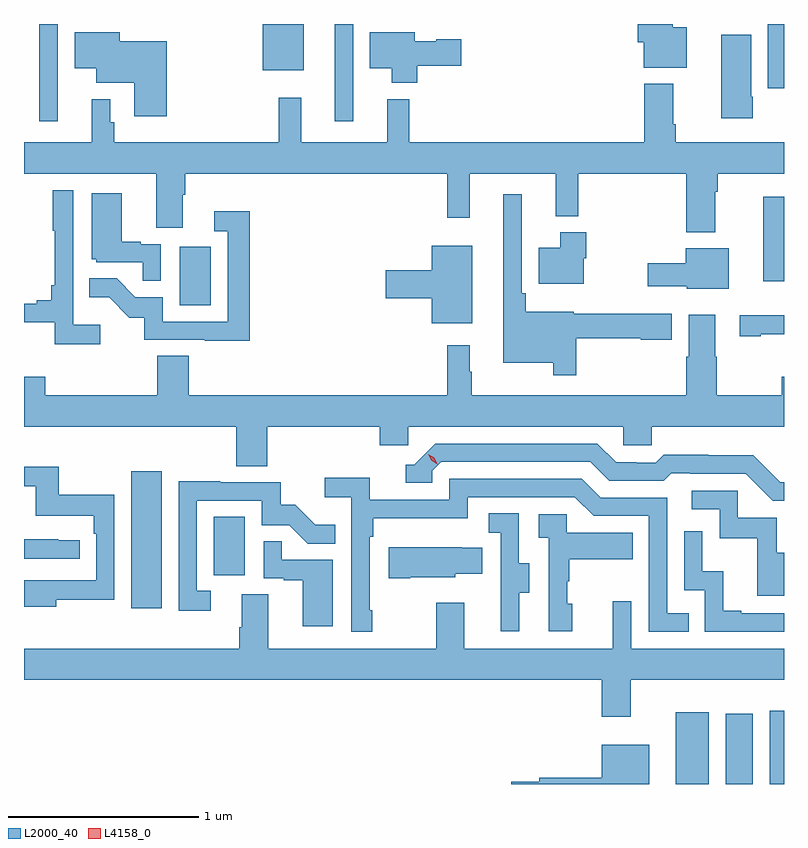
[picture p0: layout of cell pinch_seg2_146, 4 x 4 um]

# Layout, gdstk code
import gdstk
lib = gdstk.Library(unit=1e-6, precision=1e-09)
def R(c, l, rs):  # rectangles x0, y0, x1, y1
    for r in rs: c.add(gdstk.rectangle(r[:2], r[2:], *l))
def P(c, l, *ps):  # polygons
    for p in ps: c.add(gdstk.Polygon(p, *l))
L2000_40 = (2000, 40)
L4158_0 = (4158, 0)

pinch_seg2_146 = lib.new_cell('pinch_seg2_146')
R(pinch_seg2_146, L2000_40, [(1108.586,635.099,1108.762,635.476), (1108.85,635.099,1108.993,635.47), (1109.081,635.099,1109.157,635.485), (1105.721,636.024,1105.882,636.745), (1106.156,636.198,1106.32,636.505), (1105.976,637.62,1106.14,637.927), (1109.048,637.746,1109.157,638.191), (1105.238,638.586,1105.335,639.099), (1106.792,638.586,1106.889,639.099), (1109.072,638.76,1109.157,639.099), (1106.414,638.855,1106.629,639.099)])
P(pinch_seg2_146, L2000_40, [(1108.645,639.082),(1108.571,639.082),(1108.571,639.099),(1108.388,639.099),(1108.388,639.003),(1108.418,639.003),(1108.418,638.87),(1108.645,638.87)],
  [(1107.227,638.878),(1107.457,638.878),(1107.457,639.02),(1107.327,639.02),(1107.327,639.007),(1107.214,639.007),(1107.214,639.055),(1106.978,639.055),(1106.978,638.867),(1107.092,638.867),(1107.092,638.789),(1107.227,638.789)],
  [(1105.907,639.007),(1105.66,639.007),(1105.66,639.055),(1105.424,639.055),(1105.424,638.867),(1105.538,638.867),(1105.538,638.789),(1105.736,638.789),(1105.736,638.613),(1105.907,638.613)],
  [(1108.992,638.716),(1108.984,638.716),(1108.984,639.043),(1108.826,639.043),(1108.826,638.604),(1108.992,638.604)],
  [(1108.795,638.216),(1108.808,638.216),(1108.808,638.312),(1109.157,638.312),(1109.157,638.476),(1108.586,638.476),(1108.586,638.572),(1108.573,638.572),(1108.573,638.785),(1108.421,638.785),(1108.421,638.476),(1107.185,638.476),(1107.185,638.704),(1107.068,638.704),(1107.068,638.476),(1106.615,638.476),(1106.615,638.71),(1106.497,638.71),(1106.497,638.476),(1105.631,638.476),(1105.631,638.583),(1105.611,638.583),(1105.611,638.704),(1105.514,638.704),(1105.514,638.476),(1105.157,638.476),(1105.157,638.312),(1105.853,638.312),(1105.853,638.026),(1105.993,638.026),(1105.993,638.2),(1106.006,638.2),(1106.006,638.312),(1107.385,638.312),(1107.385,638.079),(1107.503,638.079),(1107.503,638.312),(1107.956,638.312),(1107.956,638.087),(1108.073,638.087),(1108.073,638.312),(1108.643,638.312),(1108.643,638.003),(1108.795,638.003)],
  [(1105.558,637.516),(1105.416,637.516),(1105.416,638.224),(1105.308,638.224),(1105.308,638.011),(1105.319,638.011),(1105.319,637.723),(1105.3,637.723),(1105.3,637.646),(1105.223,637.646),(1105.223,637.627),(1105.157,637.627),(1105.157,637.53),(1105.319,637.53),(1105.319,637.414),(1105.558,637.414)],
  [(1105.878,637.941),(1105.772,637.941),(1105.772,637.954),(1105.672,637.954),(1105.672,638.209),(1105.514,638.209),(1105.514,637.86),(1105.536,637.86),(1105.536,637.845),(1105.783,637.845),(1105.783,637.747),(1105.878,637.747)],
  [(1108.063,637.446),(1108.404,637.446),(1108.404,637.438),(1108.567,637.438),(1108.567,637.574),(1108.051,637.574),(1108.051,637.585),(1107.797,637.585),(1107.797,637.681),(1107.777,637.681),(1107.777,638.203),(1107.68,638.203),(1107.68,637.316),(1107.942,637.316),(1107.942,637.251),(1108.063,637.251)],
  [(1106.345,638.113),(1106.157,638.113),(1106.157,638.007),(1106.229,638.007),(1106.229,637.533),(1105.887,637.533),(1105.887,637.662),(1105.743,637.662),(1105.645,637.76),(1105.501,637.76),(1105.501,637.661),(1105.605,637.661),(1105.712,637.554),(1105.789,637.554),(1105.789,637.437),(1106.107,637.437),(1106.107,637.432),(1106.345,637.432)],
  [(1108.102,637.866),(1108.115,637.866),(1108.115,638.002),(1107.98,638.002),(1107.98,637.921),(1107.866,637.921),(1107.866,637.733),(1108.102,637.733)],
  [(1107.517,637.933),(1107.302,637.933),(1107.302,637.802),(1107.06,637.802),(1107.06,637.655),(1107.302,637.655),(1107.302,637.523),(1107.517,637.523)],
  [(1108.867,637.918),(1108.64,637.918),(1108.64,637.84),(1108.44,637.84),(1108.44,637.718),(1108.644,637.718),(1108.644,637.706),(1108.867,637.706)],
  [(1106.438,636.98),(1107.029,636.98),(1107.029,636.882),(1107.18,636.882),(1107.18,636.98),(1108.311,636.98),(1108.311,636.882),(1108.461,636.882),(1108.461,636.98),(1109.157,636.98),(1109.157,637.243),(1109.146,637.243),(1109.146,637.144),(1108.803,637.144),(1108.803,637.349),(1108.795,637.349),(1108.795,637.57),(1108.655,637.57),(1108.655,637.349),(1108.643,637.349),(1108.643,637.144),(1107.514,637.144),(1107.514,637.268),(1107.502,637.268),(1107.502,637.408),(1107.385,637.408),(1107.385,637.144),(1106.024,637.144),(1106.024,637.352),(1105.859,637.352),(1105.859,637.144),(1105.268,637.144),(1105.268,637.242),(1105.157,637.242),(1105.157,636.98),(1106.273,636.98),(1106.273,636.772),(1106.438,636.772)],
  [(1109.035,637.465),(1109.157,637.465),(1109.157,637.565),(1108.923,637.565),(1108.923,637.455),(1109.035,637.455)],
  [(1109.157,636.687),(1109.136,636.687),(1108.994,636.829),(1108.758,636.829),(1108.758,636.832),(1108.525,636.832),(1108.483,636.789),(1108.38,636.789),(1108.38,636.792),(1108.273,636.792),(1108.174,636.891),(1107.321,636.891),(1107.21,636.78),(1107.167,636.78),(1107.167,636.684),(1107.306,636.684),(1107.306,636.747),(1107.354,636.795),(1108.137,636.795),(1108.236,636.696),(1108.525,636.696),(1108.564,636.735),(1108.663,636.735),(1108.663,636.732),(1108.956,636.732),(1109.097,636.591),(1109.157,636.591)],
  [(1105.327,636.07),(1105.632,636.07),(1105.632,636.622),(1105.339,636.622),(1105.339,636.768),(1105.157,636.768),(1105.157,636.667),(1105.218,636.667),(1105.218,636.512),(1105.523,636.512),(1105.523,636.416),(1105.536,636.416),(1105.536,636.171),(1105.223,636.171),(1105.223,636.172),(1105.157,636.172),(1105.157,636.032),(1105.327,636.032)],
  [(1106.989,636.013),(1106.976,636.013),(1106.976,636.401),(1106.996,636.401),(1106.996,636.497),(1107.492,636.497),(1107.492,636.609),(1108.056,636.609),(1108.155,636.51),(1108.446,636.51),(1108.446,635.901),(1108.655,635.901),(1108.655,635.997),(1108.542,635.997),(1108.542,636.606),(1108.192,636.606),(1108.093,636.705),(1107.396,636.705),(1107.396,636.594),(1106.978,636.594),(1106.978,636.71),(1106.739,636.71),(1106.739,636.608),(1106.88,636.608),(1106.88,635.901),(1106.989,635.901)],
  [(1106.14,636.117),(1106.067,636.117),(1106.067,636.591),(1106.409,636.591),(1106.409,636.462),(1106.553,636.462),(1106.651,636.364),(1106.795,636.364),(1106.795,636.463),(1106.691,636.463),(1106.584,636.57),(1106.508,636.57),(1106.508,636.687),(1106.189,636.687),(1106.189,636.692),(1105.971,636.692),(1105.971,636.012),(1106.14,636.012)],
  [(1109.157,636.315),(1109.119,636.315),(1109.119,636.501),(1108.914,636.501),(1108.914,636.642),(1108.671,636.642),(1108.671,636.546),(1108.818,636.546),(1108.818,636.393),(1109.017,636.393),(1109.017,636.09),(1109.157,636.09)],
  [(1107.763,636.106),(1107.817,636.106),(1107.817,636.261),(1107.762,636.261),(1107.762,636.524),(1107.603,636.524),(1107.603,636.421),(1107.666,636.421),(1107.666,636.117),(1107.665,636.117),(1107.665,635.904),(1107.763,635.904)],
  [(1108.042,636.048),(1108.017,636.048),(1108.017,636.167),(1108.027,636.167),(1108.027,636.281),(1108.361,636.281),(1108.361,636.421),(1108.014,636.421),(1108.014,636.519),(1107.867,636.519),(1107.867,636.395),(1107.918,636.395),(1107.918,635.904),(1108.042,635.904)],
  [(1109.157,635.997),(1108.933,635.997),(1108.933,636.01),(1108.838,636.01),(1108.838,636.218),(1108.728,636.218),(1108.728,636.43),(1108.632,636.43),(1108.632,636.12),(1108.74,636.12),(1108.74,635.901),(1109.157,635.901)],
  [(1105.45,636.381),(1105.337,636.381),(1105.337,636.386),(1105.157,636.386),(1105.157,636.285),(1105.45,636.285)],
  [(1106.782,636.279),(1106.513,636.279),(1106.513,636.377),(1106.418,636.377),(1106.418,636.183),(1106.525,636.183),(1106.525,636.171),(1106.624,636.171),(1106.624,635.928),(1106.782,635.928)],
  [(1107.19,636.188),(1107.426,636.188),(1107.426,636.206),(1107.569,636.206),(1107.569,636.343),(1107.461,636.343),(1107.461,636.346),(1107.078,636.346),(1107.078,636.181),(1107.19,636.181)],
  [(1108.351,635.648),(1109.157,635.648),(1109.157,635.812),(1108.353,635.812),(1108.353,636.061),(1108.256,636.061),(1108.256,635.812),(1107.475,635.812),(1107.475,636.052),(1107.328,636.052),(1107.328,635.812),(1106.443,635.812),(1106.443,636.098),(1106.303,636.098),(1106.303,635.924),(1106.291,635.924),(1106.291,635.812),(1105.157,635.812),(1105.157,635.648),(1108.199,635.648),(1108.199,635.454),(1108.351,635.454)],
  [(1108.447,635.305),(1108.197,635.305),(1108.197,635.132),(1107.868,635.132),(1107.868,635.112),(1107.722,635.112),(1107.722,635.099),(1108.447,635.099)])
P(pinch_seg2_146, L4158_0, [(1107.332,636.782),(1107.301,636.802),(1107.285,636.835),(1107.285,636.835),(1107.285,636.835),(1107.316,636.815),(1107.332,636.783),(1107.332,636.782)])

lib.write_gds('pinch_seg2_146.gds')
